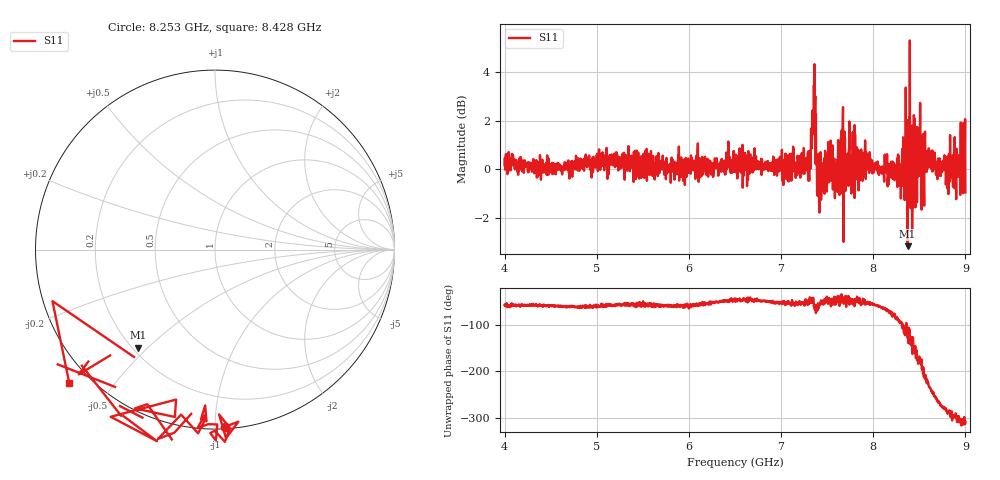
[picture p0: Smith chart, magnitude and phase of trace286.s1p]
! Created with skrf 1.8.0 (http://scikit-rf.org).
# Hz S RI R 50.0
!freq ReS11 ImS11
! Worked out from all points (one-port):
!   1601 points, 4 GHz to 9 GHz, reference 50 ohm
!   lowest |S11| = -3.2 dB at 8.372 GHz (marker M1), VSWR 5.53, Z = 11.1 - j23.4 ohm
!   |S11| at or under -10 dB: nowhere
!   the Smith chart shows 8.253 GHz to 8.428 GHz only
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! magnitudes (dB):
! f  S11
! 4 GHz  0.2
! 4.625 GHz  -0.2
! 5.25 GHz  0.1
! 5.875 GHz  0.2
! 6.5 GHz  0.3
! 7.125 GHz  0.5
! 7.294 GHz  -0.5
! 7.353 GHz  2.0
! 7.412 GHz  -1.2
! 7.438 GHz  -1.0
! 7.534 GHz  1.0
! 7.591 GHz  0.2
! 7.65 GHz  1.3
! 7.7 GHz  -0.5
! 7.75 GHz  0.0
! 7.928 GHz  0.6
! 8.316 GHz  0.8
! 8.334 GHz  -0.1
! 8.356 GHz  0.8
! 8.372 GHz  -3.2
! 8.375 GHz  1.8
! 8.422 GHz  -2.5
! 8.425 GHz  -0.4
! 8.522 GHz  1.3
! 8.806 GHz  0.0
! 8.919 GHz  -0.3
! 8.972 GHz  0.5
! 9 GHz  -1.0
